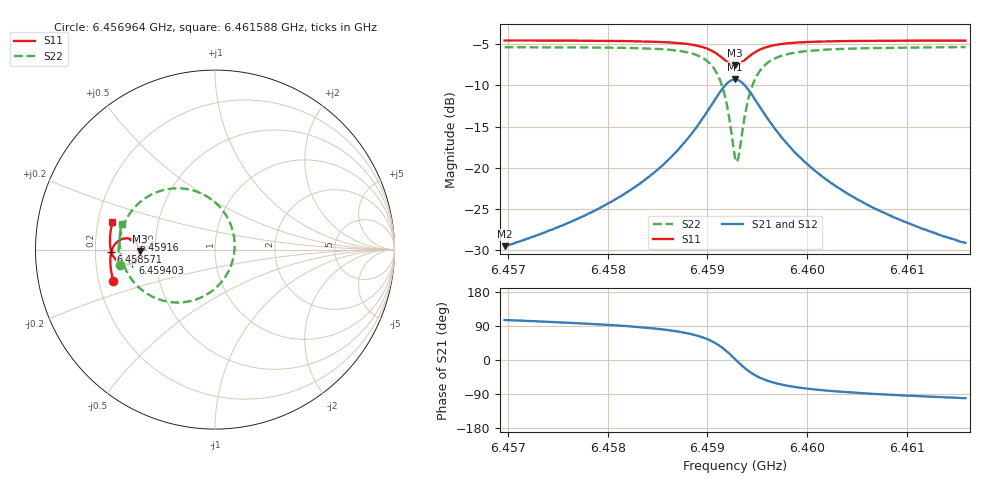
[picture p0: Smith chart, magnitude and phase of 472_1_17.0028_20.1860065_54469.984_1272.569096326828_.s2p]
#  HZ  S  RI  R  50.00
! Rohde & Schwarz Vector Network Analyzer
! Rohde-Schwarz,ZNB20-2Port,1311601062101988,3.16
! Created: UTC 3/20/2024, 11:13:12 PM
! freq[Hz]  re:S11  im:S11  re:S21  im:S21  re:S12  im:S12  re:S22  im:S22
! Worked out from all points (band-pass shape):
!   401 points, 6.456964 GHz to 6.461588 GHz, reference 50 ohm
!   highest |S21| = -9.28 dB at 6.459276 GHz (marker M1); lowest = -29.5 dB at 6.456964 GHz (marker M2)
!   |S21| within 3 dB of the highest: 6.459045 GHz to 6.459508 GHz (462.9 kHz wide, 0.00717 % of centre)
!   lowest |S11| = -7.6 dB at 6.459276 GHz (marker M3), VSWR 2.44, Z = 20.5 - j0.506 ohm
!   |S11| at or under -10 dB: nowhere
!   |S22| runs from -19.2 to -5.4 dB; largest |S21 - S12| = 0.014
!   S11 on the Smith chart (normalised r, x): 6.456964 GHz: 0.26, -0.14; 6.458571 GHz: 0.27, -0.01; 6.45916 GHz: 0.37, +0.05; 6.459403 GHz: 0.37, -0.07; 6.461588 GHz: 0.26, +0.12
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6.4569642e9  -0.5664 -0.1731  -0.00897 0.0323  -0.0073 0.0323  -0.5315 -0.086
6.4577387e9  -0.5806 -0.1055  -0.00574 0.0501  -0.00315 0.0496  -0.5372 0.00425
6.4581664e9  -0.5835 -0.0627  0.000176 0.0695  0.00346 0.0681  -0.5293 0.0717
6.4585132e9  -0.5797 -0.0214  0.014 0.0982  0.0179 0.0955  -0.5039 0.1492
6.458571e9  -0.578 -0.0135  0.0183 0.1051  0.0223 0.1019  -0.4958 0.1657
6.458779e9  -0.5652 0.0186  0.0457 0.1372  0.0498 0.1324  -0.4448 0.2385
6.4589293e9  -0.5426 0.0449  0.0907 0.1676  0.0939 0.1609  -0.362 0.3027
6.459068e9  -0.4992 0.0624  0.1773 0.1843  0.1782 0.1767  -0.2036 0.3416
6.4591605e9  -0.4548 0.0523  0.2667 0.1533  0.2669 0.1473  -0.038 0.2917
6.4592067e9  -0.4339 0.0337  0.31 0.1107  0.3114 0.1055  0.0446 0.2161
6.4592761e9  -0.4191 -0.0102  0.3432 0.0144  0.3468 0.00747  0.1094 0.0374
6.4592876e9  -0.4196 -0.0182  0.3431 -0.0031  0.3469 -0.0108  0.1091 0.00387
6.4593107e9  -0.423 -0.0336  0.3376 -0.0377  0.3413 -0.0467  0.0981 -0.0614
6.459357e9  -0.4385 -0.0595  0.3093 -0.0973  0.3115 -0.1091  0.0411 -0.1741
6.4594032e9  -0.4603 -0.0758  0.2676 -0.1381  0.2667 -0.1513  -0.0433 -0.2487
6.4594957e9  -0.5033 -0.0825  0.1833 -0.1693  0.1771 -0.1807  -0.211 -0.2948
6.459646e9  -0.5471 -0.062  0.0959 -0.1556  0.0875 -0.1618  -0.378 -0.246
6.4598078e9  -0.5684 -0.0343  0.0512 -0.128  0.0436 -0.1308  -0.458 -0.1743
6.4600505e9  -0.5811 0.00136  0.0221 -0.0967  0.0164 -0.0972  -0.5061 -0.0923
6.4604089e9  -0.5856 0.0435  0.00602 -0.0693  0.00194 -0.0688  -0.5276 -0.0111
6.460825e9  -0.5836 0.0851  -0.00145 -0.0515  -0.00427 -0.0507  -0.5316 0.0548
6.4615879e9  -0.5712 0.1526  -0.00657 -0.0344  -0.00821 -0.0335  -0.52 0.1446
